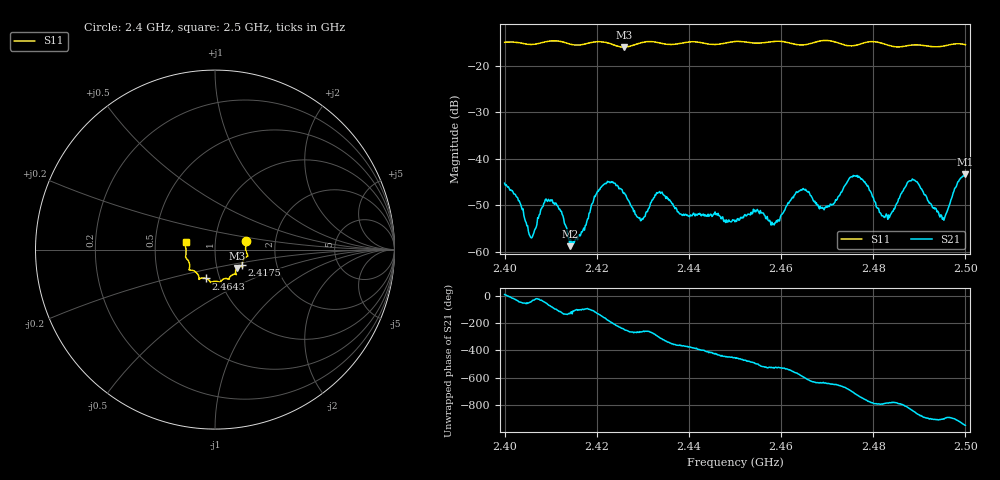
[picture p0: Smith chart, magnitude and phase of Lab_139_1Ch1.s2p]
# Hz S RI R 50
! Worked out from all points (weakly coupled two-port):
!   601 points, 2.4 GHz to 2.5 GHz, reference 50 ohm
!   highest |S21| = -43.32 dB at 2.5 GHz (marker M1); lowest = -58.8 dB at 2.4142 GHz (marker M2)
!   lowest |S11| = -15.9 dB at 2.4258 GHz (marker M3), VSWR 1.38, Z = 62.3 - j13.2 ohm
!   |S11| at or under -10 dB: start of sweep to end of sweep
!   S12 and S22 are empty: the file has one direction only
!   S11 on the Smith chart (normalised r, x): 2.4 GHz: 1.41, +0.14; 2.4175 GHz: 1.33, -0.23; 2.4643 GHz: 0.86, -0.29; 2.5 GHz: 0.72, +0.06
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2.4e9  0.1731 0.0486  0.00541 0.000837  0 0  0 0
2.403e9  0.1753 0.0349  0.00268 -0.00234  0 0  0 0
2.405667e9  0.1704 0.0064  0.000995 -0.00103  0 0  0 0
2.409833e9  0.1825 -0.0328  0.00107 -0.00334  0 0  0 0
2.414167e9  0.1657 -0.0475  -0.000767 -0.000859  0 0  0 0
2.416667e9  0.1526 -0.0737  -0.000396 -0.00159  0 0  0 0
2.4175e9  0.1515 -0.0834  -0.000249 -0.0019  0 0  0 0
2.421333e9  0.1537 -0.0969  -0.00469 -0.00225  0 0  0 0
2.425833e9  0.1219 -0.103  -0.00192 0.00379  0 0  0 0
2.429667e9  0.1162 -0.1355  -0.000183 0.00218  0 0  0 0
2.433333e9  0.1137 -0.1375  0.00213 0.00379  0 0  0 0
2.4385e9  0.0804 -0.157  0.00246 -0.000321  0 0  0 0
2.45e9  0.0281 -0.1816  -0.000143 -0.0021  0 0  0 0
2.458667e9  -0.022 -0.1833  -0.00198 -0.000552  0 0  0 0
2.464333e9  -0.0498 -0.1609  -0.00333 0.00327  0 0  0 0
2.466667e9  -0.0762 -0.1588  -0.000216 0.00387  0 0  0 0
2.469833e9  -0.0893 -0.1659  0.000566 0.00306  0 0  0 0
2.4765e9  -0.1216 -0.1166  0.00662 -0.000629  0 0  0 0
2.483333e9  -0.1408 -0.09  0.00103 -0.00227  0 0  0 0
2.4885e9  -0.1619 -0.0466  -0.00308 -0.00526  0 0  0 0
2.495333e9  -0.1639 0.014  -0.00219 9.85e-05  0 0  0 0
2.5e9  -0.1642 0.0434  -0.00448 0.00515  0 0  0 0
